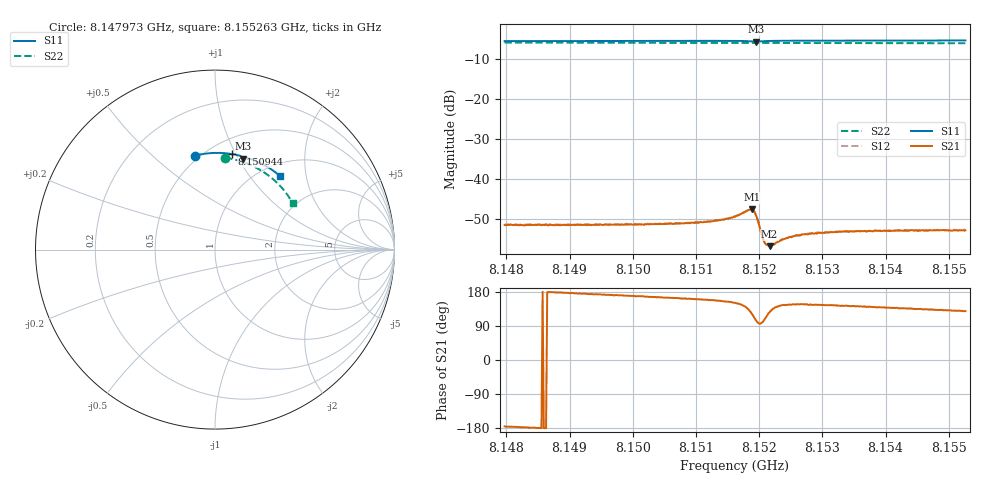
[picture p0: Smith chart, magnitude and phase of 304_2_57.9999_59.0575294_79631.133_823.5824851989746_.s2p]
#  HZ  S  RI  R  50.00
! Rohde & Schwarz Vector Network Analyzer
! Rohde-Schwarz,ZNB20-2Port,1311601062101988,3.16
! Created: UTC 3/21/2024, 1:03:55 AM
! freq[Hz]  re:S11  im:S11  re:S21  im:S21  re:S12  im:S12  re:S22  im:S22
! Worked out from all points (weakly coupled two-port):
!   401 points, 8.147973 GHz to 8.155263 GHz, reference 50 ohm
!   highest |S21| = -47.70 dB at 8.151891 GHz (marker M1); lowest = -56.9 dB at 8.152165 GHz (marker M2)
!   lowest |S11| = -5.5 dB at 8.151946 GHz (marker M3), VSWR 3.25, Z = 37.2 + j52.4 ohm
!   |S11| at or under -10 dB: nowhere
!   |S22| runs from -5.9 to -5.8 dB; largest |S21 - S12| = 0.00011
!   S11 on the Smith chart (normalised r, x): 8.147973 GHz: 0.47, +0.69; 8.150944 GHz: 0.64, +0.97; 8.155263 GHz: 1.21, +1.42
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8.1479726e9  -0.1114 0.5242  -0.00262 -0.000215  -0.0027 -0.00018  0.0567 0.5113
8.1491938e9  -0.0274 0.5374  -0.00261 0.000233  -0.00267 0.000276  0.1349 0.495
8.150415e9  0.0578 0.5369  -0.00261 0.000679  -0.00266 0.00071  0.2088 0.467
8.1509436e9  0.0946 0.5326  -0.00267 0.000913  -0.00265 0.000934  0.2393 0.4515
8.1513629e9  0.124 0.5268  -0.00279 0.00122  -0.00275 0.00124  0.2623 0.4376
8.151618e9  0.1427 0.5215  -0.00292 0.00163  -0.00295 0.0017  0.2762 0.4287
8.1518368e9  0.1578 0.5115  -0.00276 0.003  -0.00274 0.00309  0.2875 0.4204
8.1518914e9  0.159 0.5074  -0.00209 0.00355  -0.00202 0.00359  0.2902 0.4183
8.1519097e9  0.1585 0.5065  -0.00172 0.00358  -0.00165 0.00366  0.2911 0.4176
8.1519461e9  0.1571 0.5059  -0.000944 0.00341  -0.000906 0.0035  0.2929 0.4164
8.1519826e9  0.1567 0.5072  -0.000409 0.00291  -0.00038 0.00296  0.2945 0.415
8.1520373e9  0.1587 0.5102  -0.000285 0.00202  -0.000249 0.00207  0.2976 0.4131
8.1520737e9  0.1613 0.5115  -0.000418 0.0016  -0.000373 0.00164  0.2993 0.4118
8.1521102e9  0.1643 0.5121  -0.00059 0.00138  -0.00056 0.00139  0.3012 0.4105
8.1521649e9  0.1691 0.5124  -0.000836 0.00116  -0.000849 0.00118  0.3042 0.4083
8.1522013e9  0.1721 0.5122  -0.000992 0.00109  -0.000972 0.00111  0.3059 0.4069
8.1524747e9  0.1925 0.5073  -0.00154 0.00102  -0.00154 0.00106  0.3197 0.3958
8.1527117e9  0.2088 0.5017  -0.00169 0.00109  -0.00167 0.00116  0.331 0.3861
8.1528393e9  0.2172 0.4983  -0.00171 0.00119  -0.0017 0.00118  0.337 0.3804
8.1533678e9  0.251 0.483  -0.00177 0.0013  -0.00175 0.00133  0.3608 0.3567
8.1540605e9  0.2931 0.4601  -0.00165 0.00147  -0.00166 0.00153  0.3897 0.3237
8.1552635e9  0.3604 0.4115  -0.00142 0.00176  -0.00143 0.00182  0.4318 0.2609
